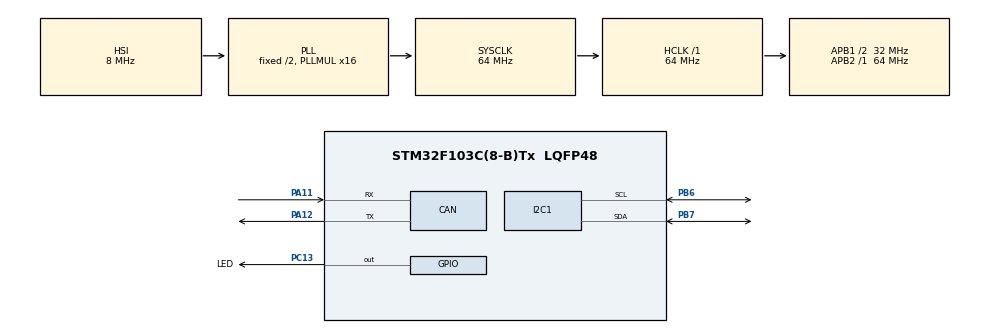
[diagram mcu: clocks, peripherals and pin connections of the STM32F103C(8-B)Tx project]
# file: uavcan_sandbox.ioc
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CAN.CalculateTimeBit=1500
CAN.CalculateTimeQuantum=500.0
FREERTOS.Mutexes01=measurementMutex,Dynamic,NULL
FREERTOS.Tasks01=Task1,40,512,StartTask01,Default,NULL,Dynamic,NULL,NULL
Mcu.Family=STM32F1
Mcu.Name=STM32F103C(8-B)Tx
Mcu.Package=LQFP48
NVIC.PriorityGroup=NVIC_PRIORITYGROUP_4
NVIC.TIM1_UP_IRQn=true\:0\:0\:false\:false\:true\:false\:false\:true
NVIC.TimeBase=TIM1_UP_IRQn
NVIC.TimeBaseIP=TIM1
PA11.Mode=Master
PA11.Signal=CAN_RX
PA12.Mode=Master
PA12.Signal=CAN_TX
PA13.Mode=Serial_Wire
PA13.Signal=SYS_JTMS-SWDIO
PA14.Mode=Serial_Wire
PA14.Signal=SYS_JTCK-SWCLK
PB6.Mode=I2C
PB6.Signal=I2C1_SCL
PB7.Mode=I2C
PB7.Signal=I2C1_SDA
PC13-TAMPER-RTC.GPIO_Label=LED
PC13-TAMPER-RTC.Signal=GPIO_Output
ProjectManager.HeapSize=0x200
ProjectManager.StackSize=0x400
ProjectManager.TargetToolchain=STM32CubeIDE
RCC.AHBFreq_Value=64000000
RCC.APB1CLKDivider=RCC_HCLK_DIV2
RCC.APB1Freq_Value=32000000
RCC.APB1TimFreq_Value=64000000
RCC.APB2Freq_Value=64000000
RCC.APB2TimFreq_Value=64000000
RCC.HCLKFreq_Value=64000000
RCC.PLLMUL=RCC_PLL_MUL16
RCC.SYSCLKFreq_VALUE=64000000
RCC.SYSCLKSource=RCC_SYSCLKSOURCE_PLLCLK
RCC.USBFreq_Value=42666666.666666664
RCC.USBPrescaler=RCC_USBCLKSOURCE_PLL_DIV1_5
VP_FREERTOS_VS_CMSIS_V2.Mode=CMSIS_V2
VP_SYS_VS_tim1.Mode=TIM1
board=custom

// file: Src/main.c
/* USER CODE BEGIN Header */
/**
  ******************************************************************************
  * @file           : main.c
  * @brief          : Main program body
  ******************************************************************************
  * @attention
  *
  * <h2><center>&copy; Copyright (c) 2020 STMicroelectronics.
  * All rights reserved.</center></h2>
  *
  * This software component is licensed by ST under Ultimate Liberty license
  * SLA0044, the "License"; You may not use this file except in compliance with
  * the License. You may obtain a copy of the License at:
  *                             www.st.com/SLA0044
  *
  ******************************************************************************
  */
/* USER CODE END Header */

#include "main.h"
#include "cmsis_os.h"

/* USER CODE BEGIN Includes */
#include "stdio.h"
#include "uavcan.h"
#include "MS4525DO.h"
#include "math.h"
/* USER CODE END Includes */

CAN_HandleTypeDef hcan;

I2C_HandleTypeDef hi2c1;

/* Definitions for Task1 */
osThreadId_t Task1Handle;
const osThreadAttr_t Task1_attributes = {
  .name = "Task1",
  .priority = (osPriority_t) osPriorityHigh,
  .stack_size = 512
};
/* Definitions for measurementMutex */
osMutexId_t measurementMutexHandle;
const osMutexAttr_t measurementMutex_attributes = {
  .name = "measurementMutex"
};
/* USER CODE BEGIN PV */
float press;
float temp;
/* USER CODE END PV */

void SystemClock_Config(void);
static void MX_GPIO_Init(void);
static void MX_CAN_Init(void);
static void MX_I2C1_Init(void);
void StartTask01(void *argument);

int main(void)
{

  /* MCU Configuration--------------------------------------------------------*/

  /* Reset of all peripherals, Initializes the Flash interface and the Systick. */
  HAL_Init();

  /* Configure the system clock */
  SystemClock_Config();

  /* Initialize all configured peripherals */
  MX_GPIO_Init();
  MX_CAN_Init();
  MX_I2C1_Init();
  /* USER CODE BEGIN 2 */
  uavcanInit();
  /* USER CODE END 2 */
  /* Init scheduler */
  osKernelInitialize();
  /* Create the mutex(es) */
  /* creation of measurementMutex */
  measurementMutexHandle = osMutexNew(&measurementMutex_attributes);

  /* Create the thread(s) */
  /* creation of Task1 */
  Task1Handle = osThreadNew(StartTask01, NULL, &Task1_attributes);

  /* Start scheduler */
  osKernelStart();

  /* We should never get here as control is now taken by the scheduler */

  /* Infinite loop */
  while (1)
  {

  }
}

void SystemClock_Config(void)
{
  RCC_OscInitTypeDef RCC_OscInitStruct = {0};
  RCC_ClkInitTypeDef RCC_ClkInitStruct = {0};

  /** Initializes the CPU, AHB and APB busses clocks
  */
  RCC_OscInitStruct.OscillatorType = RCC_OSCILLATORTYPE_HSI;
  RCC_OscInitStruct.HSIState = RCC_HSI_ON;
  RCC_OscInitStruct.HSICalibrationValue = RCC_HSICALIBRATION_DEFAULT;
  RCC_OscInitStruct.PLL.PLLState = RCC_PLL_ON;
  RCC_OscInitStruct.PLL.PLLSource = RCC_PLLSOURCE_HSI_DIV2;
  RCC_OscInitStruct.PLL.PLLMUL = RCC_PLL_MUL16;
  if (HAL_RCC_OscConfig(&RCC_OscInitStruct) != HAL_OK)
  {
    Error_Handler();
  }
  /** Initializes the CPU, AHB and APB busses clocks
  */
  RCC_ClkInitStruct.ClockType = RCC_CLOCKTYPE_HCLK|RCC_CLOCKTYPE_SYSCLK
                              |RCC_CLOCKTYPE_PCLK1|RCC_CLOCKTYPE_PCLK2;
  RCC_ClkInitStruct.SYSCLKSource = RCC_SYSCLKSOURCE_PLLCLK;
  RCC_ClkInitStruct.AHBCLKDivider = RCC_SYSCLK_DIV1;
  RCC_ClkInitStruct.APB1CLKDivider = RCC_HCLK_DIV2;
  RCC_ClkInitStruct.APB2CLKDivider = RCC_HCLK_DIV1;

  if (HAL_RCC_ClockConfig(&RCC_ClkInitStruct, FLASH_LATENCY_2) != HAL_OK)
  {
    Error_Handler();
  }
}

static void MX_CAN_Init(void)
{

  hcan.Instance = CAN1;
  hcan.Init.Prescaler = 16;
  hcan.Init.Mode = CAN_MODE_NORMAL;
  hcan.Init.SyncJumpWidth = CAN_SJW_1TQ;
  hcan.Init.TimeSeg1 = CAN_BS1_1TQ;
  hcan.Init.TimeSeg2 = CAN_BS2_1TQ;
  hcan.Init.TimeTriggeredMode = DISABLE;
  hcan.Init.AutoBusOff = DISABLE;
  hcan.Init.AutoWakeUp = DISABLE;
  hcan.Init.AutoRetransmission = DISABLE;
  hcan.Init.ReceiveFifoLocked = DISABLE;
  hcan.Init.TransmitFifoPriority = DISABLE;
  if (HAL_CAN_Init(&hcan) != HAL_OK)
  {
    Error_Handler();
  }

}

static void MX_I2C1_Init(void)
{

  hi2c1.Instance = I2C1;
  hi2c1.Init.ClockSpeed = 100000;
  hi2c1.Init.DutyCycle = I2C_DUTYCYCLE_2;
  hi2c1.Init.OwnAddress1 = 0;
  hi2c1.Init.AddressingMode = I2C_ADDRESSINGMODE_7BIT;
  hi2c1.Init.DualAddressMode = I2C_DUALADDRESS_DISABLE;
  hi2c1.Init.OwnAddress2 = 0;
  hi2c1.Init.GeneralCallMode = I2C_GENERALCALL_DISABLE;
  hi2c1.Init.NoStretchMode = I2C_NOSTRETCH_DISABLE;
  if (HAL_I2C_Init(&hi2c1) != HAL_OK)
  {
    Error_Handler();
  }

}

static void MX_GPIO_Init(void)
{
  GPIO_InitTypeDef GPIO_InitStruct = {0};

  /* GPIO Ports Clock Enable */
  __HAL_RCC_GPIOC_CLK_ENABLE();
  __HAL_RCC_GPIOA_CLK_ENABLE();
  __HAL_RCC_GPIOB_CLK_ENABLE();

  /*Configure GPIO pin Output Level */
  HAL_GPIO_WritePin(LED_GPIO_Port, LED_Pin, GPIO_PIN_RESET);

  /*Configure GPIO pin : LED_Pin */
  GPIO_InitStruct.Pin = LED_Pin;
  GPIO_InitStruct.Mode = GPIO_MODE_OUTPUT_PP;
  GPIO_InitStruct.Pull = GPIO_NOPULL;
  GPIO_InitStruct.Speed = GPIO_SPEED_FREQ_LOW;
  HAL_GPIO_Init(LED_GPIO_Port, &GPIO_InitStruct);

}

void StartTask01(void *argument)
{
  /* USER CODE BEGIN 5 */

  static uint32_t publish_time = 0;

  /* Infinite loop */
  for(;;)
  {
	  if(HAL_GetTick() < publish_time + 50) {

	  	} // rate limiting
	  	else{
	  		publish_time = HAL_GetTick();
	  		HAL_GPIO_TogglePin(LED_GPIO_Port, LED_Pin);
	  		measure_ms4525do(&hi2c1, &press, &temp);
	  		publishAirspeed(fabs(press), temp);

	  	}

	  	//publishAirspeed(40.1, 324.1);
	  	sendCanard();
	  	receiveCanard();
	  	spinCanard();
	  	//publishCanard();

  }
  /* USER CODE END 5 */
}

void HAL_TIM_PeriodElapsedCallback(TIM_HandleTypeDef *htim)
{
  if (htim->Instance == TIM1) {
    HAL_IncTick();
  }
}

void Error_Handler(void)
{
}

/************************ (C) COPYRIGHT STMicroelectronics *****END OF FILE****/
